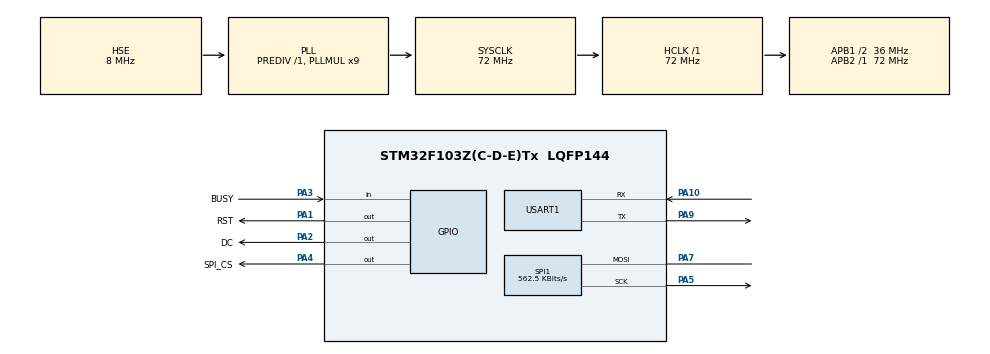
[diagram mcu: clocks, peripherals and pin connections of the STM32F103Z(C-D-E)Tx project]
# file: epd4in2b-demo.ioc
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Mcu.Family=STM32F1
Mcu.Name=STM32F103Z(C-D-E)Tx
Mcu.Package=LQFP144
NVIC.PriorityGroup=NVIC_PRIORITYGROUP_4
OSC_IN.Mode=HSE-External-Oscillator
OSC_IN.Signal=RCC_OSC_IN
OSC_OUT.Mode=HSE-External-Oscillator
OSC_OUT.Signal=RCC_OSC_OUT
PA1.GPIO_Label=RST
PA1.Signal=GPIO_Output
PA10.Mode=Asynchronous
PA10.Signal=USART1_RX
PA2.GPIO_Label=DC
PA2.Signal=GPIO_Output
PA3.GPIO_Label=BUSY
PA3.Signal=GPIO_Input
PA4.GPIO_Label=SPI_CS
PA4.PinState=GPIO_PIN_RESET
PA4.Signal=GPIO_Output
PA5.Mode=Simplex_Bidirectional_Master
PA5.Signal=SPI1_SCK
PA7.Mode=Simplex_Bidirectional_Master
PA7.Signal=SPI1_MOSI
PA9.Mode=Asynchronous
PA9.Signal=USART1_TX
ProjectManager.HeapSize=0x8000
ProjectManager.StackSize=0x1000
ProjectManager.TargetToolchain=MDK-ARM V5
RCC.AHBFreq_Value=72000000
RCC.APB1CLKDivider=RCC_HCLK_DIV2
RCC.APB1Freq_Value=36000000
RCC.APB1TimFreq_Value=72000000
RCC.APB2Freq_Value=72000000
RCC.APB2TimFreq_Value=72000000
RCC.HCLKFreq_Value=72000000
RCC.PLLMUL=RCC_PLL_MUL9
RCC.PLLSourceVirtual=RCC_PLLSOURCE_HSE
RCC.SYSCLKFreq_VALUE=72000000
RCC.SYSCLKSource=RCC_SYSCLKSOURCE_PLLCLK
RCC.USBFreq_Value=72000000
SPI1.BaudRatePrescaler=SPI_BAUDRATEPRESCALER_128
SPI1.CLKPhase=SPI_PHASE_1EDGE
SPI1.CLKPolarity=SPI_POLARITY_LOW
SPI1.CalculateBaudRate=562.5 KBits/s
SPI1.Direction=SPI_DIRECTION_1LINE
SPI1.Mode=SPI_MODE_MASTER
SPI1.VirtualType=VM_MASTER
USART1.VirtualMode=VM_ASYNC
VP_SYS_VS_ND.Mode=No_Debug
board=epd4in2b-demo

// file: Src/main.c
/**
  ******************************************************************************
  * File Name          : main.c
  * Description        : Main program body
  ******************************************************************************
  ** This notice applies to any and all portions of this file
  * that are not between comment pairs USER CODE BEGIN and
  * USER CODE END. Other portions of this file, whether
  * inserted by the user or by software development tools
  * are owned by their respective copyright owners.
  *
  * COPYRIGHT(c) 2017 STMicroelectronics
  *
  * Redistribution and use in source and binary forms, with or without modification,
  * are permitted provided that the following conditions are met:
  *   1. Redistributions of source code must retain the above copyright notice,
  *      this list of conditions and the following disclaimer.
  *   2. Redistributions in binary form must reproduce the above copyright notice,
  *      this list of conditions and the following disclaimer in the documentation
  *      and/or other materials provided with the distribution.
  *   3. Neither the name of STMicroelectronics nor the names of its contributors
  *      may be used to endorse or promote products derived from this software
  *      without specific prior written permission.
  *
  * THIS SOFTWARE IS PROVIDED BY THE COPYRIGHT HOLDERS AND CONTRIBUTORS "AS IS"
  * AND ANY EXPRESS OR IMPLIED WARRANTIES, INCLUDING, BUT NOT LIMITED TO, THE
  * IMPLIED WARRANTIES OF MERCHANTABILITY AND FITNESS FOR A PARTICULAR PURPOSE ARE
  * DISCLAIMED. IN NO EVENT SHALL THE COPYRIGHT HOLDER OR CONTRIBUTORS BE LIABLE
  * FOR ANY DIRECT, INDIRECT, INCIDENTAL, SPECIAL, EXEMPLARY, OR CONSEQUENTIAL
  * DAMAGES (INCLUDING, BUT NOT LIMITED TO, PROCUREMENT OF SUBSTITUTE GOODS OR
  * SERVICES; LOSS OF USE, DATA, OR PROFITS; OR BUSINESS INTERRUPTION) HOWEVER
  * CAUSED AND ON ANY THEORY OF LIABILITY, WHETHER IN CONTRACT, STRICT LIABILITY,
  * OR TORT (INCLUDING NEGLIGENCE OR OTHERWISE) ARISING IN ANY WAY OUT OF THE USE
  * OF THIS SOFTWARE, EVEN IF ADVISED OF THE POSSIBILITY OF SUCH DAMAGE.
  *
  ******************************************************************************
  */
#include "main.h"
#include "stm32f1xx_hal.h"

/* USER CODE BEGIN Includes */
#include "epd4in2b.h"
#include "epdif.h"
#include "epdpaint.h"
#include "imagedata.h"
#include <stdlib.h>
/* USER CODE END Includes */

SPI_HandleTypeDef hspi1;

UART_HandleTypeDef huart1;

/* USER CODE BEGIN PV */
/* Private variables ---------------------------------------------------------*/
#define COLORED      1
#define UNCOLORED    0
/* USER CODE END PV */

void SystemClock_Config(void);
static void MX_GPIO_Init(void);
static void MX_USART1_UART_Init(void);
static void MX_SPI1_Init(void);

/* USER CODE BEGIN PFP */
/* Private function prototypes -----------------------------------------------*/

/* USER CODE END PFP */

int main(void)
{

  /* USER CODE BEGIN 1 */
  /* you have to edit the startup_stm32fxxx.s file and set a big enough heap size */
  unsigned char* frame_black = (unsigned char*)malloc(EPD_WIDTH * EPD_HEIGHT / 8);
  unsigned char* frame_red = (unsigned char*)malloc(EPD_WIDTH * EPD_HEIGHT / 8);
  /* USER CODE END 1 */

  /* MCU Configuration----------------------------------------------------------*/

  /* Reset of all peripherals, Initializes the Flash interface and the Systick. */
  HAL_Init();

  /* Configure the system clock */
  SystemClock_Config();

  /* Initialize all configured peripherals */
  MX_GPIO_Init();
  MX_USART1_UART_Init();
  MX_SPI1_Init();

  /* USER CODE BEGIN 2 */
  EPD epd;
  if (EPD_Init(&epd) != 0) {
    printf("e-Paper init failed\n");
    return -1;
  }

  Paint paint_black;
  Paint_Init(&paint_black, frame_black, epd.width, epd.height);
  Paint_Clear(&paint_black, UNCOLORED);
  Paint paint_red;
  Paint_Init(&paint_red, frame_red, epd.width, epd.height);
  Paint_Clear(&paint_red, UNCOLORED);

  /* Draw something to the frame buffer */
  /* For simplicity, the arguments are explicit numerical coordinates */
  Paint_DrawRectangle(&paint_black, 20, 80, 180, 280, COLORED);
  Paint_DrawLine(&paint_black, 20, 80, 180, 280, COLORED);
  Paint_DrawLine(&paint_black, 180, 80, 20, 280, COLORED);
  Paint_DrawFilledRectangle(&paint_red, 200, 80, 360, 280, COLORED);
  Paint_DrawCircle(&paint_red, 300, 160, 60, UNCOLORED);
  Paint_DrawFilledCircle(&paint_red, 90, 210, 30, COLORED);

  /* Write strings to the buffer */
  Paint_DrawFilledRectangle(&paint_red, 0, 6, 400, 30, COLORED);
  Paint_DrawStringAt(&paint_red, 100, 10, "Hello world!", &Font24, UNCOLORED);
  Paint_DrawStringAt(&paint_black, 100, 40, "e-Paper Demo", &Font24, COLORED);

  /* Display the frame_buffer */
  EPD_DisplayFrame(&epd, frame_black, frame_red);

  /* Display the image buffer */
  EPD_DisplayFrame(&epd, IMAGE_BLACK, IMAGE_RED);
  /* USER CODE END 2 */

  /* Infinite loop */
  while (1)
  {

  }

}

/** System Clock Configuration
*/
void SystemClock_Config(void)
{

  RCC_OscInitTypeDef RCC_OscInitStruct;
  RCC_ClkInitTypeDef RCC_ClkInitStruct;

    /**Initializes the CPU, AHB and APB busses clocks
    */
  RCC_OscInitStruct.OscillatorType = RCC_OSCILLATORTYPE_HSE;
  RCC_OscInitStruct.HSEState = RCC_HSE_ON;
  RCC_OscInitStruct.HSEPredivValue = RCC_HSE_PREDIV_DIV1;
  RCC_OscInitStruct.HSIState = RCC_HSI_ON;
  RCC_OscInitStruct.PLL.PLLState = RCC_PLL_ON;
  RCC_OscInitStruct.PLL.PLLSource = RCC_PLLSOURCE_HSE;
  RCC_OscInitStruct.PLL.PLLMUL = RCC_PLL_MUL9;
  if (HAL_RCC_OscConfig(&RCC_OscInitStruct) != HAL_OK)
  {
    _Error_Handler(__FILE__, __LINE__);
  }

    /**Initializes the CPU, AHB and APB busses clocks
    */
  RCC_ClkInitStruct.ClockType = RCC_CLOCKTYPE_HCLK|RCC_CLOCKTYPE_SYSCLK
                              |RCC_CLOCKTYPE_PCLK1|RCC_CLOCKTYPE_PCLK2;
  RCC_ClkInitStruct.SYSCLKSource = RCC_SYSCLKSOURCE_PLLCLK;
  RCC_ClkInitStruct.AHBCLKDivider = RCC_SYSCLK_DIV1;
  RCC_ClkInitStruct.APB1CLKDivider = RCC_HCLK_DIV2;
  RCC_ClkInitStruct.APB2CLKDivider = RCC_HCLK_DIV1;

  if (HAL_RCC_ClockConfig(&RCC_ClkInitStruct, FLASH_LATENCY_2) != HAL_OK)
  {
    _Error_Handler(__FILE__, __LINE__);
  }

    /**Configure the Systick interrupt time
    */
  HAL_SYSTICK_Config(HAL_RCC_GetHCLKFreq()/1000);

    /**Configure the Systick
    */
  HAL_SYSTICK_CLKSourceConfig(SYSTICK_CLKSOURCE_HCLK);

  /* SysTick_IRQn interrupt configuration */
  HAL_NVIC_SetPriority(SysTick_IRQn, 0, 0);
}

/* SPI1 init function */
static void MX_SPI1_Init(void)
{

  hspi1.Instance = SPI1;
  hspi1.Init.Mode = SPI_MODE_MASTER;
  hspi1.Init.Direction = SPI_DIRECTION_1LINE;
  hspi1.Init.DataSize = SPI_DATASIZE_8BIT;
  hspi1.Init.CLKPolarity = SPI_POLARITY_LOW;
  hspi1.Init.CLKPhase = SPI_PHASE_1EDGE;
  hspi1.Init.NSS = SPI_NSS_SOFT;
  hspi1.Init.BaudRatePrescaler = SPI_BAUDRATEPRESCALER_128;
  hspi1.Init.FirstBit = SPI_FIRSTBIT_MSB;
  hspi1.Init.TIMode = SPI_TIMODE_DISABLE;
  hspi1.Init.CRCCalculation = SPI_CRCCALCULATION_DISABLE;
  hspi1.Init.CRCPolynomial = 10;
  if (HAL_SPI_Init(&hspi1) != HAL_OK)
  {
    _Error_Handler(__FILE__, __LINE__);
  }

}

/* USART1 init function */
static void MX_USART1_UART_Init(void)
{

  huart1.Instance = USART1;
  huart1.Init.BaudRate = 115200;
  huart1.Init.WordLength = UART_WORDLENGTH_8B;
  huart1.Init.StopBits = UART_STOPBITS_1;
  huart1.Init.Parity = UART_PARITY_NONE;
  huart1.Init.Mode = UART_MODE_TX_RX;
  huart1.Init.HwFlowCtl = UART_HWCONTROL_NONE;
  huart1.Init.OverSampling = UART_OVERSAMPLING_16;
  if (HAL_UART_Init(&huart1) != HAL_OK)
  {
    _Error_Handler(__FILE__, __LINE__);
  }

}

/** Configure pins as
        * Analog
        * Input
        * Output
        * EVENT_OUT
        * EXTI
*/
static void MX_GPIO_Init(void)
{

  GPIO_InitTypeDef GPIO_InitStruct;

  /* GPIO Ports Clock Enable */
  __HAL_RCC_GPIOA_CLK_ENABLE();

  /*Configure GPIO pin Output Level */
  HAL_GPIO_WritePin(GPIOA, RST_Pin|DC_Pin|SPI_CS_Pin, GPIO_PIN_RESET);

  /*Configure GPIO pins : RST_Pin DC_Pin SPI_CS_Pin */
  GPIO_InitStruct.Pin = RST_Pin|DC_Pin|SPI_CS_Pin;
  GPIO_InitStruct.Mode = GPIO_MODE_OUTPUT_PP;
  GPIO_InitStruct.Speed = GPIO_SPEED_FREQ_LOW;
  HAL_GPIO_Init(GPIOA, &GPIO_InitStruct);

  /*Configure GPIO pin : BUSY_Pin */
  GPIO_InitStruct.Pin = BUSY_Pin;
  GPIO_InitStruct.Mode = GPIO_MODE_INPUT;
  GPIO_InitStruct.Pull = GPIO_NOPULL;
  HAL_GPIO_Init(BUSY_GPIO_Port, &GPIO_InitStruct);

}

/* USER CODE BEGIN 4 */
#ifdef __GNUC__
  /* With GCC/RAISONANCE, small printf (option LD Linker->Libraries->Small printf
     set to 'Yes') calls __io_putchar() */
  #define PUTCHAR_PROTOTYPE int __io_putchar(int ch)
#else
  #define PUTCHAR_PROTOTYPE int fputc(int ch, FILE *f)
#endif /* __GNUC__ */
/**
  * @brief  Retargets the C library printf function to the USART.
  * @param  None
  * @retval None
  */
PUTCHAR_PROTOTYPE
{
  /* Place your implementation of fputc here */
  /* e.g. write a character to the EVAL_COM1 and Loop until the end of transmission */
  HAL_UART_Transmit(&huart1, (uint8_t *)&ch, 1, 0xFFFF);

  return ch;
}
/* USER CODE END 4 */

void _Error_Handler(char * file, int line)
{
  while(1)
  {
  }
}

/************************ (C) COPYRIGHT STMicroelectronics *****END OF FILE****/
